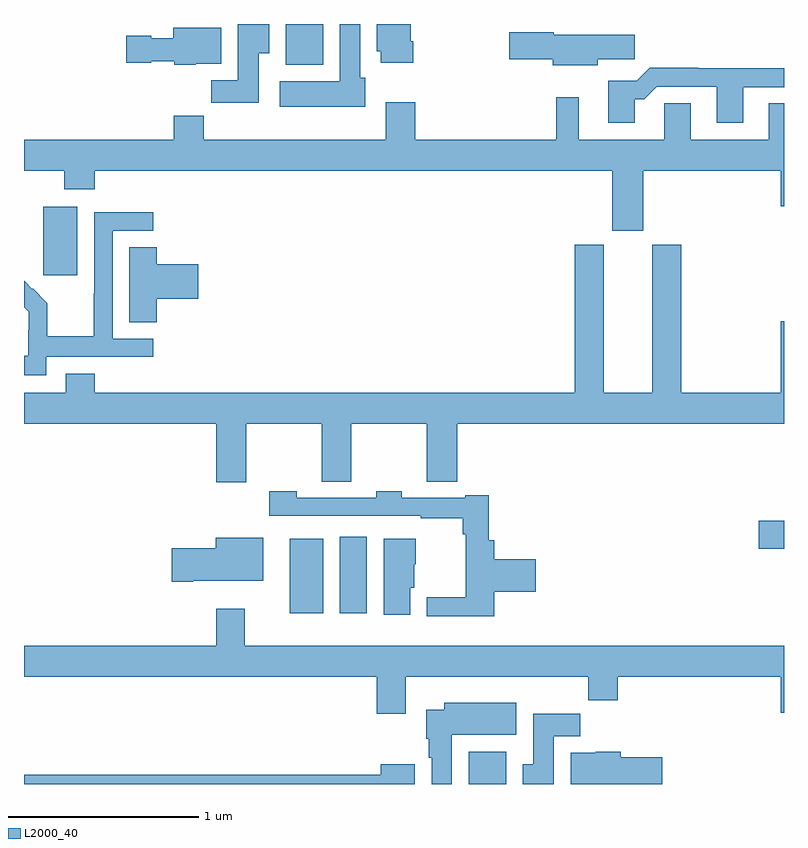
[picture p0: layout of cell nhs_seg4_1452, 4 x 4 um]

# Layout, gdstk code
import gdstk
lib = gdstk.Library(unit=1e-6, precision=1e-09)
def R(c, l, rs):  # rectangles x0, y0, x1, y1
    for r in rs: c.add(gdstk.rectangle(r[:2], r[2:], *l))
def P(c, l, *ps):  # polygons
    for p in ps: c.add(gdstk.Polygon(p, *l))
L2000_40 = (2000, 40)

nhs_seg4_1452 = lib.new_cell('nhs_seg4_1452')
R(nhs_seg4_1452, L2000_40, [(187.34,818.9,187.537,819.07), (186.398,819.8,186.574,820.192), (186.662,819.8,186.805,820.201), (188.868,820.139,189,820.286), (185.102,821.577,185.281,821.938), (186.377,822.686,186.574,822.9)])
P(nhs_seg4_1452, L2000_40, [(186.235,822.745),(186.292,822.745),(186.292,822.9),(186.125,822.9),(186.125,822.604),(185.986,822.604),(185.986,822.486),(186.235,822.486)],
  [(186.796,822.618),(186.769,822.618),(186.769,822.9),(186.662,822.9),(186.662,822.598),(186.345,822.598),(186.345,822.464),(186.796,822.464)],
  [(187.049,822.808),(187.036,822.808),(187.036,822.9),(186.857,822.9),(186.857,822.756),(186.878,822.756),(186.878,822.696),(187.049,822.696)],
  [(185.904,822.692),(186.037,822.692),(186.037,822.88),(185.786,822.88),(185.786,822.826),(185.67,822.826),(185.67,822.839),(185.538,822.839),(185.538,822.697),(185.67,822.697),(185.67,822.704),(185.79,822.704),(185.79,822.686),(185.904,822.686)],
  [(188.02,822.715),(188.215,822.715),(188.215,822.844),(187.788,822.844),(187.788,822.857),(187.554,822.857),(187.554,822.715),(187.784,822.715),(187.784,822.683),(188.02,822.683)],
  [(188.215,822.503),(188.264,822.503),(188.331,822.57),(188.645,822.57),(188.645,822.381),(188.785,822.381),(188.785,822.567),(189,822.567),(189,822.668),(188.549,822.668),(188.549,822.671),(188.294,822.671),(188.224,822.601),(188.075,822.601),(188.075,822.381),(188.215,822.381)],
  [(188.26,822.128),(188.984,822.128),(188.984,821.94),(189,821.94),(189,822.482),(188.921,822.482),(188.921,822.292),(188.509,822.292),(188.509,822.482),(188.37,822.482),(188.37,822.292),(187.921,822.292),(187.921,822.514),(187.8,822.514),(187.8,822.292),(187.058,822.292),(187.058,822.487),(186.905,822.487),(186.905,822.292),(185.945,822.292),(185.945,822.416),(185.789,822.416),(185.789,822.292),(185,822.292),(185,822.128),(185.212,822.128),(185.212,822.029),(185.372,822.029),(185.372,822.128),(188.096,822.128),(188.096,821.811),(188.26,821.811)],
  [(185.118,821.148),(185.68,821.148),(185.68,821.244),(185.466,821.244),(185.466,821.811),(185.68,821.811),(185.68,821.91),(185.37,821.91),(185.37,821.48),(185.368,821.48),(185.368,821.257),(185.123,821.257),(185.123,821.431),(185.046,821.508),(185.043,821.505),(185,821.549),(185,821.41),(185.024,821.386),(185.024,821.289),(185.022,821.289),(185.022,821.155),(185,821.155),(185,821.051),(185.118,821.051)],
  [(186.171,820.796),(186.568,820.796),(186.568,820.492),(186.722,820.492),(186.722,820.796),(187.12,820.796),(187.12,820.492),(187.28,820.492),(187.28,820.796),(189,820.796),(189,821.335),(188.984,821.335),(188.984,820.96),(188.459,820.96),(188.459,821.739),(188.306,821.739),(188.306,820.96),(188.05,820.96),(188.05,821.739),(187.898,821.739),(187.898,820.96),(185.372,820.96),(185.372,821.059),(185.219,821.059),(185.219,820.96),(185,820.96),(185,820.796),(186.011,820.796),(186.011,820.488),(186.171,820.488)],
  [(185.699,821.453),(185.917,821.453),(185.917,821.636),(185.699,821.636),(185.699,821.726),(185.555,821.726),(185.555,821.329),(185.699,821.329)],
  [(187.475,819.911),(187.693,819.911),(187.693,820.082),(187.475,820.082),(187.475,820.183),(187.445,820.183),(187.445,820.42),(187.322,820.42),(187.322,820.407),(186.987,820.407),(186.987,820.44),(186.855,820.44),(186.855,820.407),(186.435,820.407),(186.435,820.44),(186.291,820.44),(186.291,820.311),(187.087,820.311),(187.087,820.299),(187.309,820.299),(187.309,820.214),(187.324,820.214),(187.324,819.884),(187.119,819.884),(187.119,819.782),(187.475,819.782)],
  [(185.89,819.971),(186.259,819.971),(186.259,820.195),(186.008,820.195),(186.008,820.142),(185.778,820.142),(185.778,819.964),(185.89,819.964)],
  [(187.033,819.933),(187.054,819.933),(187.054,820.056),(187.063,820.056),(187.063,820.192),(186.893,820.192),(186.893,819.792),(187.033,819.792)],
  [(187.009,819.464),(187.969,819.464),(187.969,819.34),(188.126,819.34),(188.126,819.464),(188.984,819.464),(188.984,819.276),(189,819.276),(189,819.628),(186.163,819.628),(186.163,819.823),(186.011,819.823),(186.011,819.628),(185,819.628),(185,819.464),(186.857,819.464),(186.857,819.27),(187.009,819.27)],
  [(187.252,819.158),(187.591,819.158),(187.591,819.328),(187.211,819.328),(187.211,819.292),(187.118,819.292),(187.118,819.138),(187.13,819.138),(187.13,819.038),(187.145,819.038),(187.145,818.9),(187.252,818.9)],
  [(187.789,819.152),(187.928,819.152),(187.928,819.27),(187.679,819.27),(187.679,819.004),(187.625,819.004),(187.625,818.9),(187.789,818.9)],
  [(188.359,819.042),(188.141,819.042),(188.141,819.07),(188.01,819.07),(188.01,819.064),(187.877,819.064),(187.877,818.9),(188.359,818.9)],
  [(187.057,819.004),(186.878,819.004),(186.878,818.948),(185,818.948),(185,818.9),(187.057,818.9)])

lib.write_gds('nhs_seg4_1452.gds')
